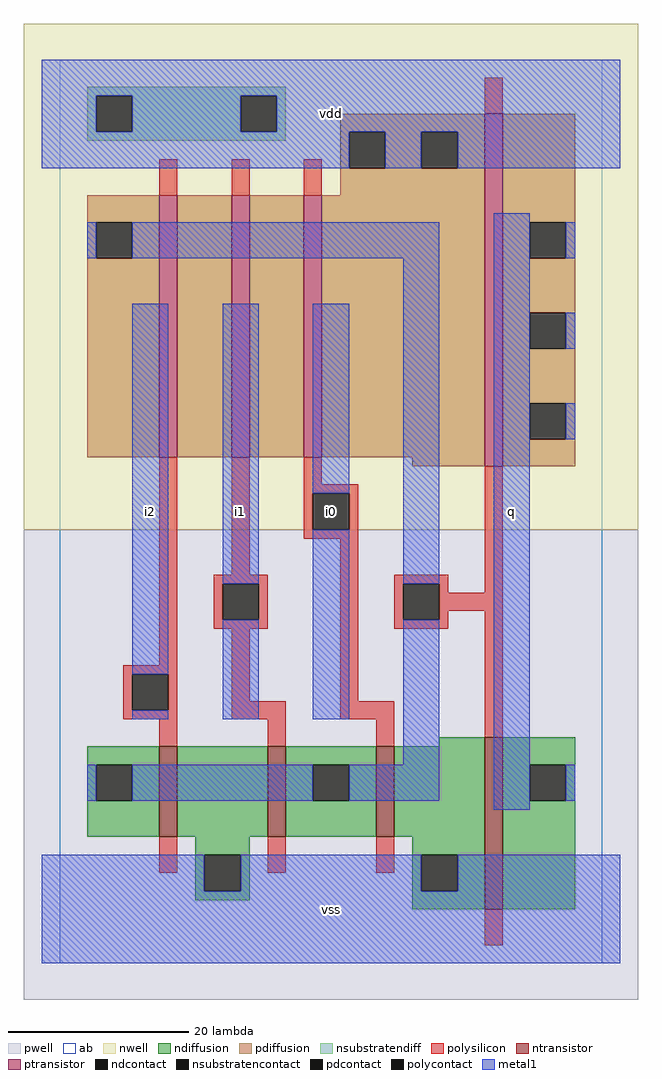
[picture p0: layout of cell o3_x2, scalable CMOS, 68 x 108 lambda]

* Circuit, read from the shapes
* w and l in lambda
.subckt o3_x2 i0 i1 i2 q vdd vss
M1 vss i2 n1 VSUBS nfet w=10 l=2
M2 n1 i1 vss VSUBS nfet w=10 l=2
M3 vss i0 n1 VSUBS nfet w=10 l=2
M4 q n1 vss VSUBS nfet w=19 l=2
M5 n2 i2 n1 vdd pfet w=29 l=2
M6 n3 i1 n2 vdd pfet w=29 l=2
M7 vdd i0 n3 vdd pfet w=29 l=2
M8 q n1 vdd vdd pfet w=39 l=2
.ends

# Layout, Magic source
magic
tech scmos
<< ab >>
rect 0 0 60 100
<< pwell >>
rect -4 -4 64 48
<< nwell >>
rect -4 48 64 104
<< polysilicon >>
rect 47 94 49 98
rect 11 85 13 89
rect 19 85 21 89
rect 27 85 29 89
rect 11 33 13 56
rect 19 43 21 56
rect 27 53 29 56
rect 27 52 33 53
rect 27 48 28 52
rect 32 48 33 52
rect 27 47 33 48
rect 17 42 23 43
rect 17 38 18 42
rect 22 38 23 42
rect 17 37 23 38
rect 7 32 13 33
rect 7 28 8 32
rect 12 28 13 32
rect 7 27 13 28
rect 19 29 21 37
rect 31 29 33 47
rect 37 42 43 43
rect 37 38 38 42
rect 42 41 43 42
rect 47 41 49 55
rect 42 39 49 41
rect 42 38 43 39
rect 37 37 43 38
rect 19 27 25 29
rect 31 27 37 29
rect 11 24 13 27
rect 23 24 25 27
rect 35 24 37 27
rect 47 25 49 39
rect 11 10 13 14
rect 23 10 25 14
rect 35 10 37 14
rect 47 2 49 6
<< ndiffusion >>
rect 42 24 47 25
rect 3 22 11 24
rect 3 18 4 22
rect 8 18 11 22
rect 3 14 11 18
rect 13 14 23 24
rect 25 22 35 24
rect 25 18 28 22
rect 32 18 35 22
rect 25 14 35 18
rect 37 14 47 24
rect 15 12 21 14
rect 15 8 16 12
rect 20 8 21 12
rect 39 12 47 14
rect 15 7 21 8
rect 39 8 40 12
rect 44 8 47 12
rect 39 6 47 8
rect 49 22 57 25
rect 49 18 52 22
rect 56 18 57 22
rect 49 6 57 18
<< pdiffusion >>
rect 31 92 47 94
rect 31 88 32 92
rect 36 88 40 92
rect 44 88 47 92
rect 31 85 47 88
rect 3 82 11 85
rect 3 78 4 82
rect 8 78 11 82
rect 3 56 11 78
rect 13 56 19 85
rect 21 56 27 85
rect 29 56 47 85
rect 39 55 47 56
rect 49 82 57 94
rect 49 78 52 82
rect 56 78 57 82
rect 49 72 57 78
rect 49 68 52 72
rect 56 68 57 72
rect 49 62 57 68
rect 49 58 52 62
rect 56 58 57 62
rect 49 55 57 58
<< metal1 >>
rect -2 96 62 100
rect -2 92 4 96
rect 8 92 20 96
rect 24 92 62 96
rect -2 88 32 92
rect 36 88 40 92
rect 44 88 62 92
rect 3 78 4 82
rect 8 78 42 82
rect 8 32 12 73
rect 8 27 12 28
rect 18 42 22 73
rect 18 27 22 38
rect 28 52 32 73
rect 28 27 32 48
rect 38 42 42 78
rect 38 22 42 38
rect 3 18 4 22
rect 8 18 28 22
rect 32 18 42 22
rect 48 17 52 83
rect 56 78 57 82
rect 56 68 57 72
rect 56 58 57 62
rect 56 18 57 22
rect -2 8 16 12
rect 20 8 40 12
rect 44 8 62 12
rect -2 0 62 8
<< ntransistor >>
rect 11 14 13 24
rect 23 14 25 24
rect 35 14 37 24
rect 47 6 49 25
<< ptransistor >>
rect 11 56 13 85
rect 19 56 21 85
rect 27 56 29 85
rect 47 55 49 94
<< polycontact >>
rect 28 48 32 52
rect 18 38 22 42
rect 8 28 12 32
rect 38 38 42 42
<< ndcontact >>
rect 4 18 8 22
rect 28 18 32 22
rect 16 8 20 12
rect 40 8 44 12
rect 52 18 56 22
<< pdcontact >>
rect 32 88 36 92
rect 40 88 44 92
rect 4 78 8 82
rect 52 78 56 82
rect 52 68 56 72
rect 52 58 56 62
<< nsubstratencontact >>
rect 4 92 8 96
rect 20 92 24 96
<< nsubstratendiff >>
rect 3 96 25 97
rect 3 92 4 96
rect 8 92 20 96
rect 24 92 25 96
rect 3 91 25 92
<< labels >>
rlabel metal1 10 50 10 50 6 i2
rlabel metal1 20 50 20 50 6 i1
rlabel metal1 30 6 30 6 6 vss
rlabel polycontact 30 50 30 50 6 i0
rlabel metal1 30 94 30 94 6 vdd
rlabel metal1 50 50 50 50 6 q
<< end >>
